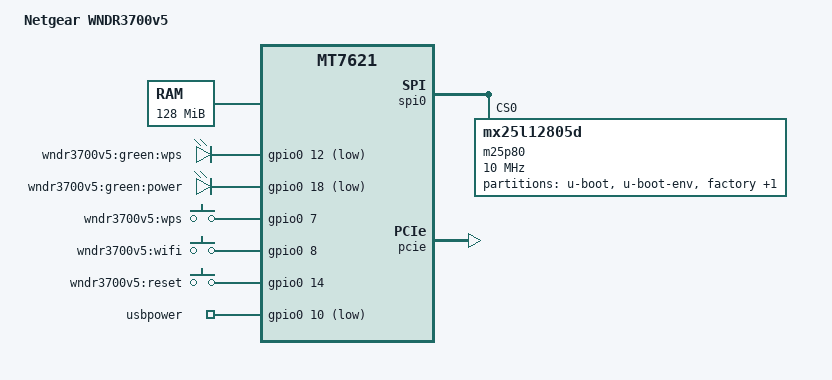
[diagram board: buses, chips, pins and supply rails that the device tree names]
/dts-v1/;

#include "mt7621.dtsi"

/ {
	compatible = "mediatek,mt7621-eval-board","ralink,mt7621-soc";
	model = "Netgear WNDR3700v5";

	memory@0 {
		device_type = "memory";
		reg = <0x0 0x8000000>;
	};

	chosen {
		bootargs = "console=ttyS0,57600 maxcpus=2";
	};

	gpio-leds {
		compatible = "gpio-leds";

		wps {
			label = "wndr3700v5:green:wps";
			gpios = <&gpio0 12 1>;
		};

		power {
			label = "wndr3700v5:green:power";
			gpios = <&gpio0 18 1>;
		};
	};

	gpio-keys-polled {
		compatible = "gpio-keys-polled";
		#address-cells = <1>;
		#size-cells = <0>;
		poll-interval = <20>;

		wps {
			label = "wndr3700v5:wps";
			gpios = <&gpio0 7 0>;
			linux,code = <0x211>;
		};

		wifi {
			label = "wndr3700v5:wifi";
			gpios = <&gpio0 8 0>;
			linux,code = <0xf7>;
		};

		reset {
			label = "wndr3700v5:reset";
			gpios = <&gpio0 14 0>;
			linux,code = <0x198>;
		};
	};

	gpio_export {
		compatible = "gpio-export";
		#size-cells = <0>;

		usbpower {
			gpio-export,name = "usbpower";
			gpio-export,output = <1>;
			gpios = <&gpio0 10 1>;
		};
	};
};

&spi0 {
	status = "okay";

	m25p80@0 {
		#address-cells = <1>;
		#size-cells = <1>;
		compatible = "mx25l12805d";
		reg = <0>;
		linux,modalias = "m25p80", "w25q128";
		spi-max-frequency = <10000000>;

		partition@0 {
			label = "u-boot";
			reg = <0x0 0x30000>;
		};

		partition@30000 {
			label = "u-boot-env";
			reg = <0x30000 0x10000>;
			read-only;
		};

		factory: partition@f30000 {
			label = "factory";
			reg = <0xf30000 0x10000>;
			read-only;
		};

		partition@50000 {
			label = "firmware";
			reg = <0x50000 0xfb0000>;
		};
	};
};

&pcie {
	status = "okay";

	pcie0 {
		mt76@0,0 {
			reg = <0x0000 0 0 0 0>;
			device_type = "pci";
			mediatek,mtd-eeprom = <&factory 0x0004>;
			mediatek,2ghz = <0>;
		};
	};

	pcie2 {
		mt76@2,0 {
			reg = <0x1000 0 0 0 0>;
			device_type = "pci";
			mediatek,mtd-eeprom = <&factory 0x8004>;
			mediatek,5ghz = <0>;
		};
	};
};

&ethernet {
	mtd-mac-address = <&factory 0x0000000c>;
};

&pinctrl {
	state_default: pinctrl0 {
		gpio {
			ralink,group =  "rgmii2", "mdio", "wdt";
			ralink,function = "gpio";
		};
	};
};
